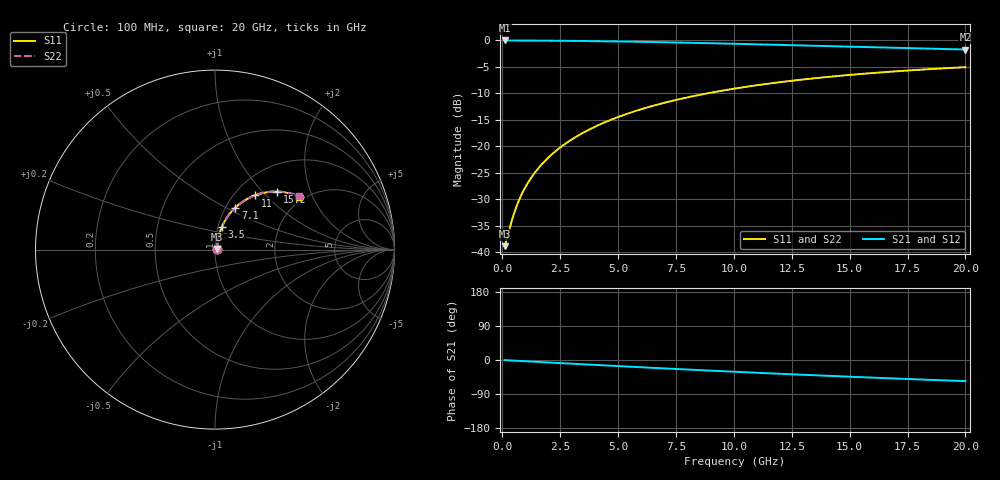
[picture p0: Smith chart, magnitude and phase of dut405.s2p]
! Touchstone file exported from HFSS 2026.1.0
!  File:  C:/ffzhzh/LocalFiles/Ansys_Project_Files/temp_train_TMRDL_405_1783004982_53980.aedt
!  Generated:  11:10:59 PM Jul  2, 2026
!  Design:  TMRDL
!  Project:  temp_train_TMRDL_405_1783004982_53980
! Variables:
!  h_bsmrdl = 2um
!  h_ox = 20um
!  h_rdl = 5um
!  h_sub = 80um
!  h_tmrdl = 2.59um
!  h_tsv = 80um
!  h_via = 3um
!  l_bsmrdl = 300um
!  l_sub = 1227.82um
!  l_tmrdl = 827.82um
!  m_sub = 200um
!  pitch = 34.47um
!  r_tsv = 6um
!  s_tmrdl = 10um
!  w_bsmrdl = 18um
!  w_sub = 500um
!  w_tmrdl = 10.4um
!  x_tsv_center1 = 833.02um
!  x_tsv_center2 = 1151.02um
!  x_tsv_center3 = 1989.24um
!  x_tsv_center4 = 2307.24um
!  x_tsv_center5 = 3145.46um
!  x_tsv_center6 = 3463.46um
# GHz S MA R 50.000000
! Terminal data exported
! Port[1] = TM_RDL1_1_T1
! Port[2] = TM_RDL1_1_T2
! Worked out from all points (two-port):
!   200 points, 100 MHz to 20 GHz, reference 50 ohm
!   highest |S21| = -0.09 dB at 100 MHz (marker M1); lowest = -1.8 dB at 20 GHz (marker M2)
!   |S21| within 3 dB of the highest: start of sweep to end of sweep
!   lowest |S11| = -38.8 dB at 100 MHz (marker M3), VSWR 1.02, Z = 51.1 + j0.411 ohm
!   |S11| at or under -10 dB: start of sweep to 8.914 GHz
!   |S22| runs from -38.8 to -5.1 dB; largest |S21 - S12| = 4.3e-15
!   S11 on the Smith chart (normalised r, x): 100 MHz: 1.02, +0.01; 3.5 GHz: 1.05, +0.27; 7.1 GHz: 1.11, +0.56; 11 GHz: 1.23, +0.87; 15.2 GHz: 1.46, +1.21; 20 GHz: 1.88, +1.60
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0.1  0.01147 20.5  0.9893 -0.3  0.9893 -0.3  0.01147 20.5
! Gamma 0 0 0 0
! Port Impedance 50 0 50 0
0.4  0.01959 54.4  0.9888 -1.3  0.9888 -1.3  0.01959 54.4
0.5  0.02305 59.4  0.9886 -1.7  0.9886 -1.7  0.02305 59.4
0.7  0.03026 65.4  0.9882 -2.3  0.9882 -2.3  0.03026 65.4
1  0.04132 70.0  0.9874 -3.3  0.9874 -3.3  0.04132 70.1
1.3  0.05247 72.3  0.9866 -4.3  0.9866 -4.3  0.05247 72.4
1.7  0.0674 73.8  0.9854 -5.6  0.9854 -5.6  0.0674 73.8
2.2  0.08608 74.3  0.9837 -7.2  0.9837 -7.2  0.08608 74.4
2.8  0.1084 74.0  0.9813 -9.1  0.9813 -9.1  0.1084 74.1
3.5  0.1343 73.0  0.9778 -11.4  0.9778 -11.4  0.1343 73.0
4.2  0.1598 71.6  0.9738 -13.6  0.9738 -13.6  0.1597 71.6
5  0.1883 69.7  0.9683 -16.1  0.9683 -16.1  0.1883 69.7
5.9  0.2196 67.4  0.9614 -18.9  0.9614 -18.9  0.2196 67.4
6.8  0.2498 65.0  0.9537 -21.6  0.9537 -21.6  0.2498 65.0
7.1  0.2596 64.1  0.9509 -22.5  0.9509 -22.5  0.2596 64.2
8.5  0.3037 60.3  0.9372 -26.7  0.9372 -26.7  0.3037 60.4
10.1  0.3505 56.0  0.9202 -31.2  0.9202 -31.2  0.3505 56.1
11  0.375 53.6  0.9103 -33.7  0.9103 -33.7  0.375 53.8
13.4  0.4342 47.5  0.883 -40.1  0.883 -40.1  0.4342 47.6
15.2  0.4729 43.1  0.8628 -44.6  0.8628 -44.6  0.4729 43.3
16.7  0.5017 39.5  0.8464 -48.2  0.8464 -48.2  0.5016 39.8
20  0.5545 32.2  0.8131 -55.7  0.8131 -55.7  0.5544 32.5
